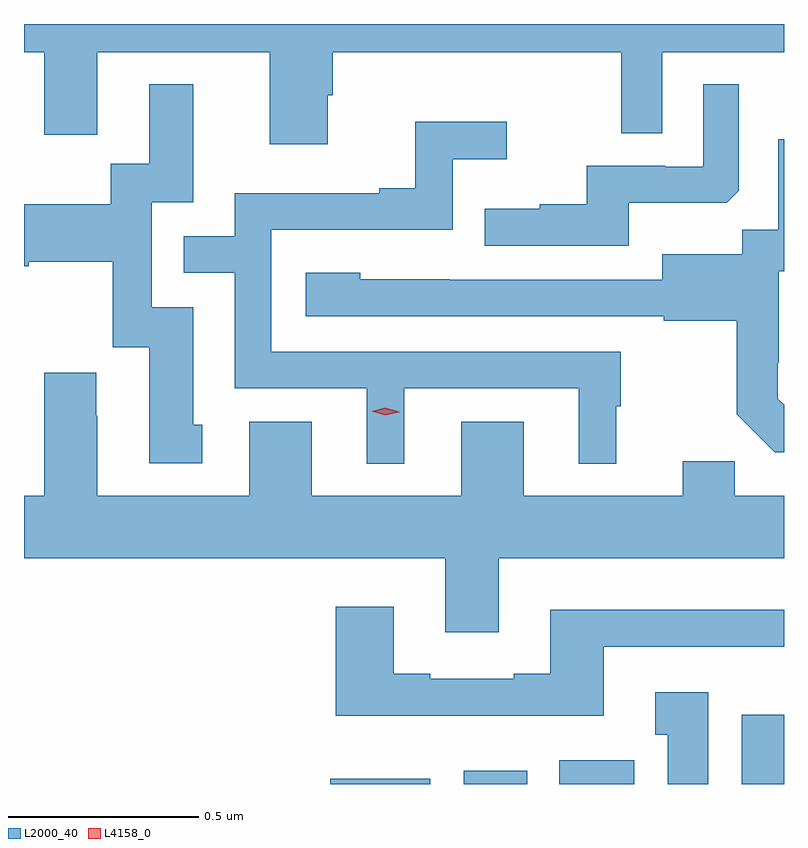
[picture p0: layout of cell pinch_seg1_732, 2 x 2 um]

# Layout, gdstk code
import gdstk
lib = gdstk.Library(unit=1e-6, precision=1e-09)
def R(c, l, rs):  # rectangles x0, y0, x1, y1
    for r in rs: c.add(gdstk.rectangle(r[:2], r[2:], *l))
def P(c, l, *ps):  # polygons
    for p in ps: c.add(gdstk.Polygon(p, *l))
L2000_40 = (2000, 40)
L4158_0 = (4158, 0)

pinch_seg1_732 = lib.new_cell('pinch_seg1_732')
R(pinch_seg1_732, L2000_40, [(639.986,519.17,640.249,519.184), (640.337,519.17,640.504,519.205), (640.589,519.17,640.786,519.232), (641.069,519.17,641.18,519.352)])
P(pinch_seg1_732, L2000_40, [(639.979,520.983),(639.992,520.983),(639.992,521.096),(640.752,521.096),(640.752,520.882),(640.86,520.882),(640.86,521.096),(641.18,521.096),(641.18,521.17),(639.18,521.17),(639.18,521.096),(639.233,521.096),(639.233,520.878),(639.373,520.878),(639.373,521.096),(639.827,521.096),(639.827,520.854),(639.979,520.854)],
  [(639.649,520.116),(639.625,520.116),(639.625,520.425),(639.516,520.425),(639.516,520.701),(639.625,520.701),(639.625,521.011),(639.509,521.011),(639.509,520.802),(639.408,520.802),(639.408,520.696),(639.18,520.696),(639.18,520.532),(639.193,520.532),(639.193,520.544),(639.413,520.544),(639.413,520.32),(639.509,520.32),(639.509,520.014),(639.649,520.014)],
  [(640.771,520.7),(641.029,520.7),(641.061,520.731),(641.061,521.011),(640.968,521.011),(640.968,520.794),(640.868,520.794),(640.868,520.797),(640.661,520.797),(640.661,520.696),(640.537,520.696),(640.537,520.684),(640.393,520.684),(640.393,520.587),(640.771,520.587)],
  [(640.18,520.212),(640.64,520.212),(640.64,520.013),(640.738,520.013),(640.738,520.164),(640.75,520.164),(640.75,520.308),(639.831,520.308),(639.831,520.629),(640.308,520.629),(640.308,520.814),(640.45,520.814),(640.45,520.913),(640.21,520.913),(640.21,520.738),(640.115,520.738),(640.115,520.725),(639.735,520.725),(639.735,520.611),(639.601,520.611),(639.601,520.515),(639.735,520.515),(639.735,520.212),(640.082,520.212),(640.082,520.013),(640.18,520.013)],
  [(641.18,520.168),(641.164,520.184),(641.164,520.279),(641.166,520.279),(641.166,520.52),(641.18,520.52),(641.18,520.867),(641.165,520.867),(641.165,520.628),(641.07,520.628),(641.07,520.564),(640.859,520.564),(640.859,520.497),(640.301,520.497),(640.301,520.498),(640.065,520.498),(640.065,520.516),(639.921,520.516),(639.921,520.401),(640.863,520.401),(640.863,520.389),(641.055,520.389),(641.055,520.143),(641.155,520.043),(641.18,520.043)],
  [(639.37,520.139),(639.37,520.252),(639.233,520.252),(639.233,519.928),(639.18,519.928),(639.18,519.764),(640.289,519.764),(640.289,519.57),(640.429,519.57),(640.429,519.764),(641.18,519.764),(641.18,519.928),(641.051,519.928),(641.051,520.019),(640.913,520.019),(640.913,519.928),(640.495,519.928),(640.495,520.123),(640.331,520.123),(640.331,519.928),(639.937,519.928),(639.937,520.123),(639.773,520.123),(639.773,519.928),(639.373,519.928),(639.373,520.139)],
  [(640.705,519.531),(641.18,519.531),(641.18,519.628),(640.565,519.628),(640.565,519.46),(640.469,519.46),(640.469,519.447),(640.249,519.447),(640.249,519.46),(640.153,519.46),(640.153,519.637),(640.001,519.637),(640.001,519.35),(640.705,519.35)],
  [(640.981,519.412),(640.841,519.412),(640.841,519.299),(640.874,519.299),(640.874,519.17),(640.981,519.17)])
P(pinch_seg1_732, L4158_0, [(640.131,520.14),(640.095,520.151),(640.095,520.151),(640.095,520.151),(640.131,520.16),(640.167,520.149),(640.167,520.148),(640.167,520.148)])

lib.write_gds('pinch_seg1_732.gds')
